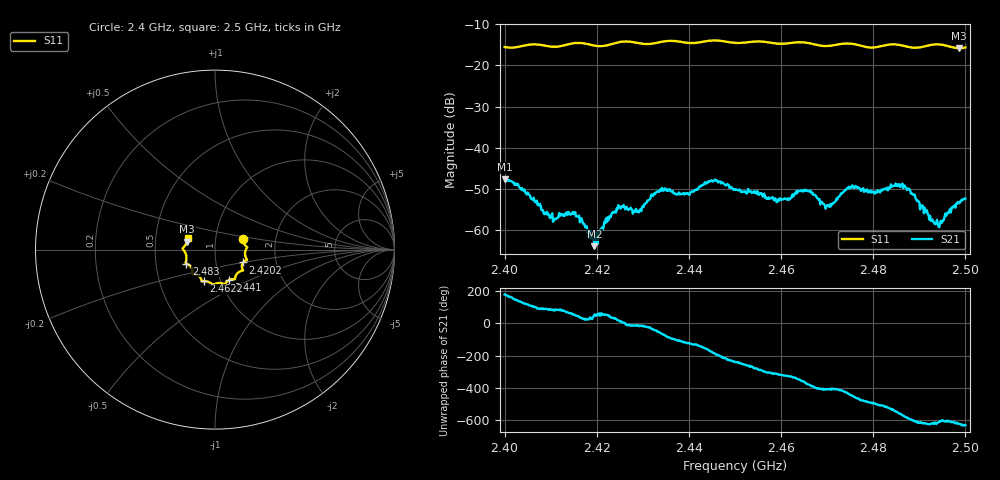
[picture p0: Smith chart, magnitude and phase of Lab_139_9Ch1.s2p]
# Hz S RI R 50
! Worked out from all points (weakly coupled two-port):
!   601 points, 2.4 GHz to 2.5 GHz, reference 50 ohm
!   highest |S21| = -47.67 dB at 2.4 GHz (marker M1); lowest = -63.9 dB at 2.4195 GHz (marker M2)
!   lowest |S11| = -15.8 dB at 2.4987 GHz (marker M3), VSWR 1.39, Z = 36.4 + j3.33 ohm
!   |S11| at or under -10 dB: start of sweep to end of sweep
!   S12 and S22 are empty: the file has one direction only
!   S11 on the Smith chart (normalised r, x): 2.4 GHz: 1.36, +0.17; 2.4202 GHz: 1.35, -0.20; 2.441 GHz: 1.09, -0.39; 2.4622 GHz: 0.83, -0.30; 2.483 GHz: 0.72, -0.12; 2.5 GHz: 0.73, +0.09
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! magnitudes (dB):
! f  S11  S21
! 2.4 GHz  -15.5  -47.7
! 2.4103 GHz  -15.5  -55.9
! 2.4148 GHz  -14.6  -55.6
! 2.4167 GHz  -14.6  -57.1
! 2.4195 GHz  -15.2  -63.9
! 2.4202 GHz  -15.3  -63.4
! 2.4248 GHz  -14.4  -54.3
! 2.4292 GHz  -14.6  -55.6
! 2.4333 GHz  -14.4  -50.5
! 2.441 GHz  -14.6  -50.6
! 2.4453 GHz  -13.9  -48.0
! 2.45 GHz  -14.5  -50.2
! 2.4622 GHz  -14.5  -52.2
! 2.4667 GHz  -14.7  -51.1
! 2.47 GHz  -15.3  -53.9
! 2.475 GHz  -14.7  -49.5
! 2.483 GHz  -15.0  -49.7
! 2.4833 GHz  -15.0  -49.6
! 2.4873 GHz  -15.4  -50.2
! 2.4938 GHz  -14.9  -57.5
! 2.4987 GHz  -15.8  -53.4
! 2.5 GHz  -15.6  -52.3
